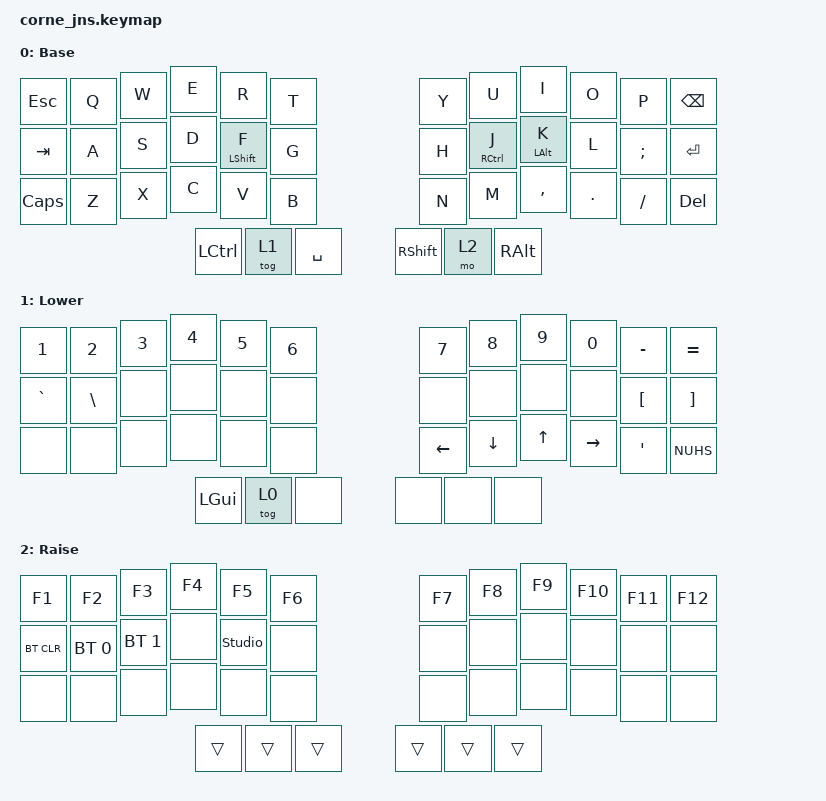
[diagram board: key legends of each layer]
/*
 * Copyright (c) 2020 The ZMK Contributors
 *
 * SPDX-License-Identifier: MIT
 */

#include <behaviors.dtsi>
#include <dt-bindings/zmk/keys.h>
#include <dt-bindings/zmk/bt.h>

/*
 * Posições (42 teclas):
 *   linha 0: 0-11   | linha 1: 12-23 | linha 2: 24-35
 *   polegares: 36-38 (esquerdo), 39-41 (direito)
 */

/ {
        behaviors {
                /* Home row mods da mão ESQUERDA: só viram modificador
                 * se a outra tecla for da mão DIREITA (ou polegar). */
                hml: home_row_mod_left {
                        compatible = "zmk,behavior-hold-tap";
                        #binding-cells = <2>;
                        display-name = "HRM Left";
                        flavor = "balanced";
                        tapping-term-ms = <280>;
                        quick-tap-ms = <175>;
                        require-prior-idle-ms = <150>;
                        bindings = <&kp>, <&kp>;
                        hold-trigger-key-positions = <6 7 8 9 10 11 18 19 20 21 22 23 30 31 32 33 34 35 36 37 38 39 40 41>;
                        hold-trigger-on-release;
                };

                /* Home row mods da mão DIREITA: só viram modificador
                 * se a outra tecla for da mão ESQUERDA (ou polegar). */
                hmr: home_row_mod_right {
                        compatible = "zmk,behavior-hold-tap";
                        #binding-cells = <2>;
                        display-name = "HRM Right";
                        flavor = "balanced";
                        tapping-term-ms = <280>;
                        quick-tap-ms = <175>;
                        require-prior-idle-ms = <150>;
                        bindings = <&kp>, <&kp>;
                        hold-trigger-key-positions = <0 1 2 3 4 5 12 13 14 15 16 17 24 25 26 27 28 29 36 37 38 39 40 41>;
                        hold-trigger-on-release;
                };
        };

        keymap {
                compatible = "zmk,keymap";

                default_layer {
                        display-name = "Base";
// -----------------------------------------------------------------------------------------
// | ESC  |  Q  |  W  |  E    |  R  |  T  |   |  Y    |  U   |  I   |  O  |  P  | BSPC |
// | TAB  |  A  |  S  |  D    | F*  |  G  |   |  H    |  J*  |  K*  |  L  |  Ç  | ENT  |
// | CAPS |  Z  |  X  |  C    |  V  |  B  |   |  N    |  M   |  ,   |  .  |  ;  | DEL  |
//                    | LCTRL | LWR | SPC |   | RSHFT | RSE  | ALTR |
//
// * Home row mods:  F = LSHFT  |  J = RCTRL  |  K = LALT  |  L = LGUI   (toque = letra, segurar = modificador)
                        bindings = <
   &kp ESC  &kp Q &kp W     &kp  E &kp R        &kp T     &kp Y &kp U        &kp I       &kp O    &kp P    &kp BSPC
   &kp TAB  &kp A &kp S     &kp  D &hml LSHFT F &kp G     &kp H &hmr RCTRL J &hmr LALT K &kp L    &kp SEMI &kp RET
   &kp CAPS &kp Z &kp X     &kp  C &kp V        &kp B     &kp N &kp M        &kp COMMA   &kp DOT  &kp FSLH &kp DEL
                  &kp LCTRL &tog 1 &kp SPACE    &kp RSHFT &mo 2 &kp RALT
                        >;
                };
                lower_layer {
                        display-name = "Lower";
// -----------------------------------------------------------------------------------------
// |  1! |  2@ |  3# |  4$ |  5% |  6¨ |   |  7& |  8* |  9( |  0) |  -  |   =  |
// | '"  |  \| |     |     |     |     |   |     |     |     |     |  ´  |   [  |
// |     |     |     |     |     |     |   | LFT | DWN |  UP | RGT |  ~  |   ]  |
//                   | WIN |     |     |   |     |     |     |
                        bindings = <
   &kp N1    &kp N2   &kp N3 &kp N4    &kp N5 &kp N6   &kp N7   &kp N8   &kp N9 &kp N0    &kp MINUS &kp EQUAL
   &kp GRAVE &kp BSLH &none  &none     &none  &none    &none    &none    &none  &none     &kp LBKT  &kp RBKT
   &none     &none    &none  &none     &none  &none    &kp LEFT &kp DOWN &kp UP &kp RIGHT &kp SQT   &kp NUHS
                             &kp LGUI  &tog 0 &none    &none    &none    &none
                        >;
                };

                raise_layer {
                        display-name = "Raise";
// -----------------------------------------------------------------------------------------
// |  F1   |  F2  |  F3  |  F4 |  F5      |  F6 |   |  F7 |  F8 |  F9 |  F10 |  F11 |  F12 |
// | BTCLR |  BT1 |  BT2 |     | STDUNLCK |     |   |     |     |     |      |      |      |
// |       |      |      |     |          |     |   |     |     |     |      |      |      |
//                |      |     |          |     |   |     |     |     |
                        bindings = <
   &kp F1     &kp F2       &kp F3       &kp F4 &kp F5         &kp F6     &kp F7 &kp F8 &kp F9 &kp F10 &kp F11 &kp F12
   &bt BT_CLR &bt BT_SEL 0 &bt BT_SEL 1 &none  &studio_unlock &none      &none  &none  &none  &none   &none   &none
   &none      &none        &none        &none  &none  &none   &none      &none  &none  &none  &none   &none
                                        &trans &trans &trans  &trans     &trans &trans
                        >;
                };
        };
};
